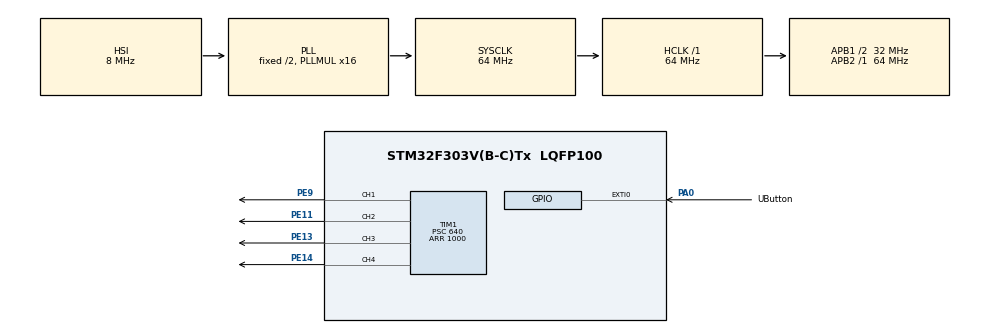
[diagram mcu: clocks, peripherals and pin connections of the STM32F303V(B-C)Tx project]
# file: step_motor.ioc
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Mcu.Family=STM32F3
Mcu.Name=STM32F303V(B-C)Tx
Mcu.Package=LQFP100
NVIC.EXTI0_IRQn=true\:0\:0\:false\:false\:true\:true\:true
NVIC.PriorityGroup=NVIC_PRIORITYGROUP_4
NVIC.TIM1_CC_IRQn=true\:0\:0\:false\:false\:true\:true\:true
NVIC.TIM1_UP_TIM16_IRQn=true\:0\:0\:false\:false\:true\:true\:true
PA0.GPIO_Label=UButton
PA0.Signal=GPXTI0
PD12.GPIO_Speed=GPIO_SPEED_FREQ_HIGH
PD12.Signal=S_TIM4_CH1
PD13.GPIO_Speed=GPIO_SPEED_FREQ_HIGH
PD13.Signal=S_TIM4_CH2
PD14.GPIO_Speed=GPIO_SPEED_FREQ_HIGH
PD14.Signal=S_TIM4_CH3
PD15.GPIO_Speed=GPIO_SPEED_FREQ_HIGH
PD15.Signal=S_TIM4_CH4
PE11.GPIO_Speed=GPIO_SPEED_FREQ_HIGH
PE11.Signal=S_TIM1_CH2
PE13.Signal=S_TIM1_CH3
PE14.Signal=S_TIM1_CH4
PE9.GPIO_Speed=GPIO_SPEED_FREQ_HIGH
PE9.Signal=S_TIM1_CH1
PF0-OSC_IN.Signal=RCC_OSC_IN
PF1-OSC_OUT.Signal=RCC_OSC_OUT
ProjectManager.HeapSize=0x200
ProjectManager.StackSize=0x400
ProjectManager.TargetToolchain=SW4STM32
RCC.AHBFreq_Value=64000000
RCC.APB1CLKDivider=RCC_HCLK_DIV2
RCC.APB1Freq_Value=32000000
RCC.APB1TimFreq_Value=64000000
RCC.APB2Freq_Value=64000000
RCC.APB2TimFreq_Value=64000000
RCC.CortexFreq_Value=64000000
RCC.HCLKFreq_Value=64000000
RCC.HSE_VALUE=8000000
RCC.HSI_VALUE=8000000
RCC.LSE_VALUE=32768
RCC.PLLMUL=RCC_PLL_MUL16
RCC.SYSCLKFreq_VALUE=64000000
RCC.SYSCLKSourceVirtual=RCC_SYSCLKSOURCE_PLLCLK
RCC.USBFreq_Value=64000000
SH.S_TIM1_CH1.0=TIM1_CH1,PWM Generation1 CH1
SH.S_TIM1_CH2.0=TIM1_CH2,PWM Generation2 CH2
SH.S_TIM1_CH3.0=TIM1_CH3,PWM Generation3 CH3
SH.S_TIM1_CH4.0=TIM1_CH4,PWM Generation4 CH4
SH.S_TIM4_CH1.0=TIM4_CH1
SH.S_TIM4_CH2.0=TIM4_CH2
SH.S_TIM4_CH3.0=TIM4_CH3
SH.S_TIM4_CH4.0=TIM4_CH4
TIM1.AutoReloadPreload=TIM_AUTORELOAD_PRELOAD_DISABLE
TIM1.Channel-PWM\ Generation1\ CH1=TIM_CHANNEL_1
TIM1.Channel-PWM\ Generation2\ CH2=TIM_CHANNEL_2
TIM1.Channel-PWM\ Generation3\ CH3=TIM_CHANNEL_3
TIM1.Channel-PWM\ Generation4\ CH4=TIM_CHANNEL_4
TIM1.CounterMode=TIM_COUNTERMODE_UP
TIM1.OCFastMode_PWM-PWM\ Generation1\ CH1=TIM_OCFAST_ENABLE
TIM1.OCFastMode_PWM-PWM\ Generation2\ CH2=TIM_OCFAST_ENABLE
TIM1.OCFastMode_PWM-PWM\ Generation3\ CH3=TIM_OCFAST_ENABLE
TIM1.OCFastMode_PWM-PWM\ Generation4\ CH4=TIM_OCFAST_ENABLE
TIM1.OCIdleState_1=TIM_OCIDLESTATE_RESET
TIM1.OCIdleState_2=TIM_OCIDLESTATE_SET
TIM1.OCIdleState_3=TIM_OCIDLESTATE_RESET
TIM1.OCIdleState_4=TIM_OCIDLESTATE_SET
TIM1.OCMode_PWM-PWM\ Generation2\ CH2=TIM_OCMODE_PWM1
TIM1.OCMode_PWM-PWM\ Generation3\ CH3=TIM_OCMODE_PWM1
TIM1.OCMode_PWM-PWM\ Generation4\ CH4=TIM_OCMODE_PWM1
TIM1.OCPolarity_1=TIM_OCPOLARITY_HIGH
TIM1.OCPolarity_2=TIM_OCPOLARITY_LOW
TIM1.OCPolarity_3=TIM_OCPOLARITY_HIGH
TIM1.OCPolarity_4=TIM_OCPOLARITY_LOW
TIM1.Period=1000
TIM1.Prescaler=640
TIM1.Pulse-PWM\ Generation1\ CH1=500
TIM1.Pulse-PWM\ Generation2\ CH2=500
TIM1.Pulse-PWM\ Generation3\ CH3=500
TIM1.Pulse-PWM\ Generation4\ CH4=500
TIM1.RepetitionCounter=0
TIM1.TIM_MasterOutputTrigger=TIM_TRGO_RESET
TIM1.TIM_MasterOutputTrigger2=TIM_TRGO2_RESET
TIM1.TIM_MasterSlaveMode=TIM_MASTERSLAVEMODE_DISABLE
VP_TIM1_VS_ClockSourceINT.Mode=Internal
board=custom

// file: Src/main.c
/* USER CODE BEGIN Header */
/**
  ******************************************************************************
  * @file           : main.c
  * @brief          : Main program body
  ******************************************************************************
  * @attention
  *
  * <h2><center>&copy; Copyright (c) 2019 STMicroelectronics.
  * All rights reserved.</center></h2>
  *
  * This software component is licensed by ST under BSD 3-Clause license,
  * the "License"; You may not use this file except in compliance with the
  * License. You may obtain a copy of the License at:
  *                        opensource.org/licenses/BSD-3-Clause
  *
  ******************************************************************************
  */
/* USER CODE END Header */

#include "main.h"
#include "tim.h"
#include "gpio.h"

void SystemClock_Config(void);
/* USER CODE BEGIN PFP */
volatile int clock_state = 1;
void HAL_TIM_PeriodElapsedCallback(TIM_HandleTypeDef *htim)
{
	if (htim->Instance != TIM1) { return;}

	if (clock_state == 1) {
		HAL_TIM_PWM_Stop(&htim1, TIM_CHANNEL_3);
		HAL_TIM_PWM_Stop(&htim1, TIM_CHANNEL_4);
		HAL_TIM_PWM_Start(&htim1, TIM_CHANNEL_1);
		HAL_TIM_PWM_Start(&htim1, TIM_CHANNEL_2);
		clock_state = 0;
	}
	else{
		HAL_TIM_PWM_Stop(&htim1, TIM_CHANNEL_1);
		HAL_TIM_PWM_Stop(&htim1, TIM_CHANNEL_2);
		HAL_TIM_PWM_Start(&htim1, TIM_CHANNEL_3);
		HAL_TIM_PWM_Start(&htim1, TIM_CHANNEL_4);
		clock_state = 1;
	}
}

volatile int button_is_pressed = 0;
void HAL_GPIO_EXTI_Callback(uint16_t GPIO_Pin)
{
 if( GPIO_Pin == UButton_Pin)
 {
  static uint32_t last_change_tick;
  if( HAL_GetTick() - last_change_tick < 50 )
  {
   return;
  }
  last_change_tick = HAL_GetTick();
  if(button_is_pressed)
  {
   button_is_pressed = 0;
  }else
  {
   button_is_pressed = 1;
  }
 }
}
/* USER CODE END PFP */

int main(void)
{

  /* MCU Configuration--------------------------------------------------------*/

  /* Reset of all peripherals, Initializes the Flash interface and the Systick. */
  HAL_Init();

  /* Configure the system clock */
  SystemClock_Config();

  /* Initialize all configured peripherals */
  MX_GPIO_Init();
  MX_TIM1_Init();
  /* USER CODE BEGIN 2 */
//  HAL_TIM_PWM_Start(&htim4, TIM_CHANNEL_1);
//  HAL_TIM_PWM_Start(&htim4, TIM_CHANNEL_2);
//  HAL_TIM_PWM_Start(&htim4, TIM_CHANNEL_3);
//  HAL_TIM_PWM_Start(&htim4, TIM_CHANNEL_4);

//  HAL_TIMEx_PWMN_Start(&htim1, TIM_CHANNEL_1);
//  HAL_TIM_PWM_Start(&htim1, TIM_CHANNEL_1);
//  HAL_TIM_PWM_Start(&htim1, TIM_CHANNEL_2);
//  HAL_TIM_PWM_Start(&htim1, TIM_CHANNEL_3);
//  HAL_TIM_PWM_Start(&htim1, TIM_CHANNEL_4);
//  HAL_TIMEx_PWMN_Start(&htim1, TIM_CHANNEL_2);
  HAL_TIM_Base_Start_IT(&htim1);
  HAL_TIM_PWM_Start(&htim1, TIM_CHANNEL_1);
  HAL_TIM_PWM_Start(&htim1, TIM_CHANNEL_2);
  /* USER CODE END 2 */

  /* Infinite loop */
  /* USER CODE BEGIN WHILE */
  uint8_t b = 0;
  while (1)
  {
    /* USER CODE END WHILE */
	  if (b == 0){
		  TIM1->CCR1 = 500;
		  TIM1->CCR2 = 0;
		  b = 1;
	  } else {
		  TIM1->CCR1 = 0;
		  TIM1->CCR2 = 500;
		  b = 0;
	  }

  }
}

void SystemClock_Config(void)
{
  RCC_OscInitTypeDef RCC_OscInitStruct = {0};
  RCC_ClkInitTypeDef RCC_ClkInitStruct = {0};
  RCC_PeriphCLKInitTypeDef PeriphClkInit = {0};

  /** Initializes the CPU, AHB and APB busses clocks
  */
  RCC_OscInitStruct.OscillatorType = RCC_OSCILLATORTYPE_HSI;
  RCC_OscInitStruct.HSIState = RCC_HSI_ON;
  RCC_OscInitStruct.HSICalibrationValue = RCC_HSICALIBRATION_DEFAULT;
  RCC_OscInitStruct.PLL.PLLState = RCC_PLL_ON;
  RCC_OscInitStruct.PLL.PLLSource = RCC_PLLSOURCE_HSI;
  RCC_OscInitStruct.PLL.PLLMUL = RCC_PLL_MUL16;
  if (HAL_RCC_OscConfig(&RCC_OscInitStruct) != HAL_OK)
  {
    Error_Handler();
  }
  /** Initializes the CPU, AHB and APB busses clocks
  */
  RCC_ClkInitStruct.ClockType = RCC_CLOCKTYPE_HCLK|RCC_CLOCKTYPE_SYSCLK
                              |RCC_CLOCKTYPE_PCLK1|RCC_CLOCKTYPE_PCLK2;
  RCC_ClkInitStruct.SYSCLKSource = RCC_SYSCLKSOURCE_PLLCLK;
  RCC_ClkInitStruct.AHBCLKDivider = RCC_SYSCLK_DIV1;
  RCC_ClkInitStruct.APB1CLKDivider = RCC_HCLK_DIV2;
  RCC_ClkInitStruct.APB2CLKDivider = RCC_HCLK_DIV1;

  if (HAL_RCC_ClockConfig(&RCC_ClkInitStruct, FLASH_LATENCY_2) != HAL_OK)
  {
    Error_Handler();
  }
  PeriphClkInit.PeriphClockSelection = RCC_PERIPHCLK_TIM1;
  PeriphClkInit.Tim1ClockSelection = RCC_TIM1CLK_HCLK;
  if (HAL_RCCEx_PeriphCLKConfig(&PeriphClkInit) != HAL_OK)
  {
    Error_Handler();
  }
}

void Error_Handler(void)
{
}

/************************ (C) COPYRIGHT STMicroelectronics *****END OF FILE****/
